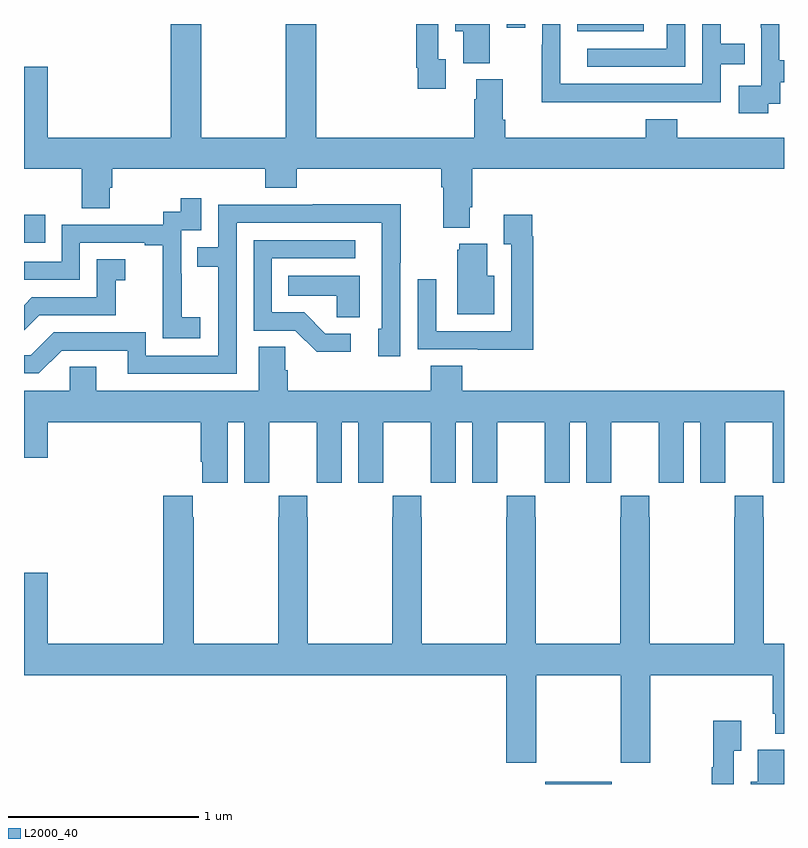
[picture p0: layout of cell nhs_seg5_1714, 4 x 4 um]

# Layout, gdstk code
import gdstk
lib = gdstk.Library(unit=1e-6, precision=1e-09)
def R(c, l, rs):  # rectangles x0, y0, x1, y1
    for r in rs: c.add(gdstk.rectangle(r[:2], r[2:], *l))
def P(c, l, *ps):  # polygons
    for p in ps: c.add(gdstk.Polygon(p, *l))
L2000_40 = (2000, 40)

nhs_seg5_1714 = lib.new_cell('nhs_seg5_1714')
R(nhs_seg5_1714, L2000_40, [(215.744,910.799,216.094,910.81), (215.912,914.762,216.262,914.799), (215.541,914.778,215.637,914.799)])
P(nhs_seg5_1714, L2000_40, [(215.347,913.834),(215.36,913.834),(215.36,914.036),(217,914.036),(217,914.2),(216.437,914.2),(216.437,914.299),(216.272,914.299),(216.272,914.2),(215.534,914.2),(215.534,914.296),(215.521,914.296),(215.521,914.508),(215.381,914.508),(215.381,914.402),(215.369,914.402),(215.369,914.2),(214.538,914.2),(214.538,914.799),(214.378,914.799),(214.378,914.2),(213.933,914.2),(213.933,914.799),(213.773,914.799),(213.773,914.2),(213.124,914.2),(213.124,914.575),(213,914.575),(213,914.036),(213.304,914.036),(213.304,913.828),(213.451,913.828),(213.451,913.938),(213.464,913.938),(213.464,914.036),(214.271,914.036),(214.271,913.937),(214.436,913.937),(214.436,914.036),(215.195,914.036),(215.195,913.94),(215.207,913.94),(215.207,913.727),(215.347,913.727)],
  [(215.221,914.613),(215.181,914.613),(215.181,914.799),(215.065,914.799),(215.065,914.569),(215.073,914.569),(215.073,914.457),(215.221,914.457)],
  [(216.48,914.799),(216.384,914.799),(216.384,914.67),(215.964,914.67),(215.964,914.574),(216.48,914.574)],
  [(216.188,914.388),(216.666,914.388),(216.666,914.586),(216.794,914.586),(216.794,914.695),(216.667,914.695),(216.667,914.799),(216.57,914.799),(216.57,914.484),(215.823,914.484),(215.823,914.799),(215.727,914.799),(215.727,914.69),(215.726,914.69),(215.726,914.387),(216.188,914.387)],
  [(215.452,914.799),(215.27,914.799),(215.27,914.762),(215.312,914.762),(215.312,914.593),(215.452,914.593)],
  [(216.918,914.379),(216.98,914.379),(216.98,914.493),(217,914.493),(217,914.609),(216.976,914.609),(216.976,914.799),(216.878,914.799),(216.878,914.779),(216.879,914.779),(216.879,914.475),(216.762,914.475),(216.762,914.328),(216.918,914.328)],
  [(213.928,913.255),(213.83,913.255),(213.83,913.484),(213.828,913.484),(213.828,913.713),(213.933,913.713),(213.933,913.882),(213.825,913.882),(213.825,913.812),(213.732,913.812),(213.732,913.743),(213.198,913.743),(213.198,913.548),(213,913.548),(213,913.452),(213.294,913.452),(213.294,913.647),(213.635,913.647),(213.635,913.635),(213.731,913.635),(213.731,913.351),(213.73,913.351),(213.73,913.145),(213.928,913.145)],
  [(214.119,913.752),(214.884,913.752),(214.884,913.194),(214.865,913.194),(214.865,913.05),(214.98,913.05),(214.98,913.543),(214.983,913.543),(214.983,913.85),(214.519,913.85),(214.519,913.848),(214.023,913.848),(214.023,913.623),(213.913,913.623),(213.913,913.522),(214.023,913.522),(214.023,913.053),(213.642,913.053),(213.642,913.176),(213.156,913.176),(213.036,913.056),(213,913.056),(213,912.96),(213.078,912.96),(213.198,913.08),(213.545,913.08),(213.545,912.957),(214.119,912.957)],
  [(215.681,913.682),(215.674,913.682),(215.674,913.795),(215.525,913.795),(215.525,913.639),(215.565,913.639),(215.565,913.182),(215.169,913.182),(215.169,913.456),(215.073,913.456),(215.073,913.086),(215.389,913.086),(215.389,913.085),(215.681,913.085)],
  [(213.113,913.795),(213.002,913.795),(213.002,913.743),(213,913.743),(213,913.647),(213.113,913.647)],
  [(214.72,913.17),(214.585,913.17),(214.474,913.281),(214.305,913.281),(214.305,913.566),(214.744,913.566),(214.744,913.662),(214.209,913.662),(214.209,913.185),(214.428,913.185),(214.541,913.073),(214.72,913.073)],
  [(215.476,913.474),(215.437,913.474),(215.437,913.642),(215.291,913.642),(215.291,913.611),(215.279,913.611),(215.279,913.271),(215.476,913.271)],
  [(213.079,913.266),(213.483,913.266),(213.483,913.451),(213.532,913.451),(213.532,913.561),(213.384,913.561),(213.384,913.362),(213.042,913.362),(213,913.32),(213,913.187)],
  [(214.768,913.474),(214.39,913.474),(214.39,913.37),(214.647,913.37),(214.647,913.255),(214.768,913.255)],
  [(214.072,912.704),(214.16,912.704),(214.16,912.384),(214.29,912.384),(214.29,912.496),(214.291,912.496),(214.291,912.704),(214.541,912.704),(214.541,912.496),(214.542,912.496),(214.542,912.384),(214.672,912.384),(214.672,912.704),(214.76,912.704),(214.76,912.384),(214.89,912.384),(214.89,912.496),(214.891,912.496),(214.891,912.704),(215.141,912.704),(215.141,912.496),(215.142,912.496),(215.142,912.384),(215.272,912.384),(215.272,912.704),(215.36,912.704),(215.36,912.384),(215.49,912.384),(215.49,912.496),(215.491,912.496),(215.491,912.704),(215.741,912.704),(215.741,912.496),(215.742,912.496),(215.742,912.384),(215.872,912.384),(215.872,912.704),(215.96,912.704),(215.96,912.384),(216.09,912.384),(216.09,912.496),(216.091,912.496),(216.091,912.704),(216.341,912.704),(216.341,912.496),(216.342,912.496),(216.342,912.384),(216.472,912.384),(216.472,912.704),(216.56,912.704),(216.56,912.384),(216.69,912.384),(216.69,912.496),(216.691,912.496),(216.691,912.704),(216.941,912.704),(216.941,912.496),(216.942,912.496),(216.942,912.384),(217,912.384),(217,912.868),(215.306,912.868),(215.306,913.001),(215.141,913.001),(215.141,912.868),(214.388,912.868),(214.388,912.977),(214.374,912.977),(214.374,913.1),(214.235,913.1),(214.235,912.868),(213.379,912.868),(213.379,912.995),(213.24,912.995),(213.24,912.868),(213,912.868),(213,912.516),(213.124,912.516),(213.124,912.704),(213.929,912.704),(213.929,912.496),(213.938,912.496),(213.938,912.384),(214.072,912.384)],
  [(215.697,911.372),(216.142,911.372),(216.142,910.911),(216.297,910.911),(216.297,911.372),(216.941,911.372),(216.941,911.17),(216.953,911.17),(216.953,911.063),(217,911.063),(217,911.536),(216.894,911.536),(216.894,912.203),(216.891,912.203),(216.891,912.316),(216.741,912.316),(216.741,912.203),(216.739,912.203),(216.739,911.536),(216.294,911.536),(216.294,912.203),(216.291,912.203),(216.291,912.316),(216.141,912.316),(216.141,912.203),(216.139,912.203),(216.139,911.536),(215.694,911.536),(215.694,912.203),(215.691,912.203),(215.691,912.316),(215.541,912.316),(215.541,912.203),(215.539,912.203),(215.539,911.536),(215.094,911.536),(215.094,912.203),(215.091,912.203),(215.091,912.316),(214.941,912.316),(214.941,912.203),(214.939,912.203),(214.939,911.536),(214.494,911.536),(214.494,912.203),(214.491,912.203),(214.491,912.316),(214.341,912.316),(214.341,912.203),(214.339,912.203),(214.339,911.536),(213.894,911.536),(213.894,912.203),(213.887,912.203),(213.887,912.316),(213.734,912.316),(213.734,911.536),(213.124,911.536),(213.124,911.911),(213,911.911),(213,911.372),(215.537,911.372),(215.537,910.911),(215.697,910.911)],
  [(216.735,910.975),(216.775,910.975),(216.775,911.131),(216.627,911.131),(216.627,910.886),(216.619,910.886),(216.619,910.799),(216.735,910.799)],
  [(217,910.978),(216.863,910.978),(216.863,910.81),(216.824,910.81),(216.824,910.799),(217,910.799)])

lib.write_gds('nhs_seg5_1714.gds')
